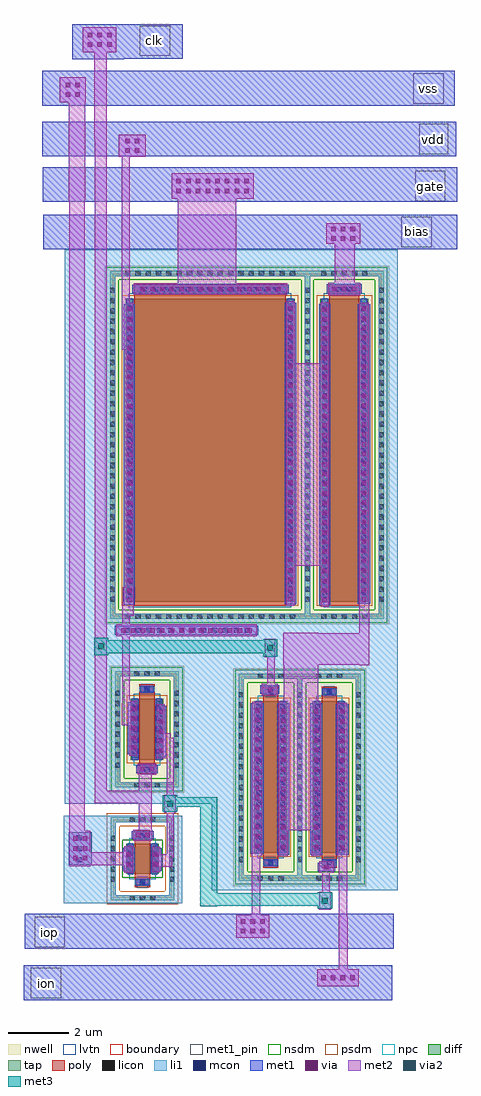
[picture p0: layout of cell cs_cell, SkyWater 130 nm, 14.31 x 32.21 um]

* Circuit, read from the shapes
.subckt cs_cell bias clk gate ion iop vdd vss
XM1 n1 clk vss vss sky130_fd_pr__nfet_01v8_lvt w=1 l=0.5
XM2 n2 gate vdd vdd sky130_fd_pr__pfet_01v8_lvt w=10 l=5
XM3 n1 clk vdd vdd sky130_fd_pr__pfet_01v8_lvt w=2 l=0.5
XM4 n3 clk iop vdd sky130_fd_pr__pfet_01v8_lvt w=5 l=0.5
XM5 ion n1 n3 vdd sky130_fd_pr__pfet_01v8_lvt w=5 l=0.5
XM6 n3 bias n2 vdd sky130_fd_pr__pfet_01v8_lvt w=10 l=1
.ends

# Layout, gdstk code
import gdstk
lib = gdstk.Library(unit=1e-6, precision=1e-09)
def R(c, l, rs):  # rectangles x0, y0, x1, y1
    for r in rs: c.add(gdstk.rectangle(r[:2], r[2:], *l))
def A(c, l, x, y, w, h, nx, ny, dx, dy):  # array of equal rectangles
    R(c, l, [(x+i*dx, y+j*dy, x+i*dx+w, y+j*dy+h) for i in range(nx) for j in range(ny)])
nwell = (64, 20)
diff = (65, 20)
tap = (65, 44)
poly = (66, 20)
licon = (66, 44)
li1 = (67, 20)
mcon = (67, 44)
met1_pin = (68, 16)
met1 = (68, 20)
via = (68, 44)
met2 = (69, 20)
via2 = (69, 44)
met3 = (70, 20)
nsdm = (93, 44)
psdm = (94, 20)
npc = (95, 20)
lvtn = (125, 44)
boundary = (235, 4)

sky130_fd_pr__pfet_01v8_ = lib.new_cell('sky130_fd_pr__pfet_01v8_lvt_7NMKNF')
R(sky130_fd_pr__pfet_01v8_, nwell, [(-1.48,-5.92,1.48,5.92)])
R(sky130_fd_pr__pfet_01v8_, diff, [(-0.79,-5.18,0.79,4.82)])
R(sky130_fd_pr__pfet_01v8_, tap, [(-1.3,-5.74,1.3,-5.57), (-1.3,-5.57,-1.13,5.57), (1.13,-5.57,1.3,5.57), (-1.3,5.57,1.3,5.74)])
R(sky130_fd_pr__pfet_01v8_, poly, [(-0.5,-5.31,0.5,5.305)])
A(sky130_fd_pr__pfet_01v8_, licon, -0.765, -5.74, 0.17, 0.17, 5, 2, 0.34, 11.31)
A(sky130_fd_pr__pfet_01v8_, licon, -1.3, -5.185, 0.17, 0.17, 1, 31, 0, 0.34)
A(sky130_fd_pr__pfet_01v8_, licon, 1.13, -5.185, 0.17, 0.17, 1, 31, 0, 0.34)
A(sky130_fd_pr__pfet_01v8_, licon, -0.73, -5.025, 0.17, 0.17, 1, 29, 0, 0.34)
A(sky130_fd_pr__pfet_01v8_, licon, 0.56, -5.025, 0.17, 0.17, 1, 29, 0, 0.34)
R(sky130_fd_pr__pfet_01v8_, licon, [(-0.255,5.055,-0.085,5.225), (0.085,5.055,0.255,5.225)])
R(sky130_fd_pr__pfet_01v8_, li1, [(-1.3,-5.74,1.3,-5.57), (-1.3,-5.57,-1.13,5.57), (1.13,-5.57,1.3,5.57), (-0.73,-5.2,-0.56,4.84), (0.56,-5.2,0.73,4.84), (-0.5,5.055,0.5,5.225), (-1.3,5.57,1.3,5.74)])
A(sky130_fd_pr__pfet_01v8_, mcon, -0.73, -4.945, 0.17, 0.17, 1, 27, 0, 0.36)
A(sky130_fd_pr__pfet_01v8_, mcon, 0.56, -4.945, 0.17, 0.17, 1, 27, 0, 0.36)
R(sky130_fd_pr__pfet_01v8_, mcon, [(-0.265,5.055,-0.095,5.225), (0.095,5.055,0.265,5.225)])
R(sky130_fd_pr__pfet_01v8_, met1, [(-0.76,-5.18,-0.53,4.82), (0.53,-5.18,0.76,4.82), (-0.48,5.025,0.48,5.255)])
R(sky130_fd_pr__pfet_01v8_, nsdm, [(-1.425,-5.865,1.425,-5.445), (-1.425,-5.445,-1.005,5.445), (1.005,-5.445,1.425,5.445), (-1.425,5.445,1.425,5.865)])
R(sky130_fd_pr__pfet_01v8_, psdm, [(-0.915,-5.305,0.915,4.945)])
R(sky130_fd_pr__pfet_01v8_, npc, [(-0.355,4.955,0.355,5.325)])
R(sky130_fd_pr__pfet_01v8_, lvtn, [(-0.68,-5.36,0.68,5)])
R(sky130_fd_pr__pfet_01v8_, boundary, [(-1.215,-5.655,1.215,5.655)])

c_sky130_fd_pr__pfet_01v8_ = lib.new_cell('sky130_fd_pr__pfet_01v8_lvt_X3K6Y6')
R(c_sky130_fd_pr__pfet_01v8_, nwell, [(-1.23,-2.095,1.23,2.095)])
R(c_sky130_fd_pr__pfet_01v8_, diff, [(-0.54,-1,0.54,1)])
R(c_sky130_fd_pr__pfet_01v8_, tap, [(-1.05,-1.915,1.05,-1.745), (-1.05,-1.745,-0.88,1.745), (0.88,-1.745,1.05,1.745), (-1.05,1.745,1.05,1.915)])
R(c_sky130_fd_pr__pfet_01v8_, poly, [(-0.25,-1.485,0.25,1.485)])
A(c_sky130_fd_pr__pfet_01v8_, licon, -0.425, -1.915, 0.17, 0.17, 3, 2, 0.34, 3.66)
A(c_sky130_fd_pr__pfet_01v8_, licon, -1.05, -1.275, 0.17, 0.17, 1, 8, 0, 0.34)
A(c_sky130_fd_pr__pfet_01v8_, licon, 0.88, -1.275, 0.17, 0.17, 1, 8, 0, 0.34)
A(c_sky130_fd_pr__pfet_01v8_, licon, -0.48, -0.935, 0.17, 0.17, 1, 6, 0, 0.34)
A(c_sky130_fd_pr__pfet_01v8_, licon, 0.31, -0.935, 0.17, 0.17, 1, 6, 0, 0.34)
R(c_sky130_fd_pr__pfet_01v8_, licon, [(-0.085,-1.405,0.085,-1.235), (-0.085,1.235,0.085,1.405)])
R(c_sky130_fd_pr__pfet_01v8_, li1, [(-1.05,-1.915,1.05,-1.745), (-1.05,-1.745,-0.88,1.745), (0.88,-1.745,1.05,1.745), (-0.25,-1.405,0.25,-1.235), (-0.48,-1.02,-0.31,1.02), (0.31,-1.02,0.48,1.02), (-0.25,1.235,0.25,1.405), (-1.05,1.745,1.05,1.915)])
A(c_sky130_fd_pr__pfet_01v8_, mcon, -0.48, -0.805, 0.17, 0.17, 1, 5, 0, 0.36)
A(c_sky130_fd_pr__pfet_01v8_, mcon, 0.31, -0.805, 0.17, 0.17, 1, 5, 0, 0.36)
R(c_sky130_fd_pr__pfet_01v8_, mcon, [(-0.085,-1.405,0.085,-1.235), (-0.085,1.235,0.085,1.405)])
R(c_sky130_fd_pr__pfet_01v8_, met1, [(-0.23,-1.435,0.23,-1.205), (-0.51,-1,-0.28,1), (0.28,-1,0.51,1), (-0.23,1.205,0.23,1.435)])
R(c_sky130_fd_pr__pfet_01v8_, nsdm, [(-1.175,-2.04,1.175,-1.62), (-1.175,-1.62,-0.755,1.62), (0.755,-1.62,1.175,1.62), (-1.175,1.62,1.175,2.04)])
R(c_sky130_fd_pr__pfet_01v8_, psdm, [(-0.665,-1.125,0.665,1.125)])
R(c_sky130_fd_pr__pfet_01v8_, npc, [(-0.185,-1.505,0.185,-1.135), (-0.185,1.135,0.185,1.505)])
R(c_sky130_fd_pr__pfet_01v8_, lvtn, [(-0.43,-1.18,0.43,1.18)])
R(c_sky130_fd_pr__pfet_01v8_, boundary, [(-0.965,-1.83,0.965,1.83)])

sky130_fd_pr__nfet_01v8_ = lib.new_cell('sky130_fd_pr__nfet_01v8_lvt_PVEW3M')
R(sky130_fd_pr__nfet_01v8_, diff, [(-0.54,-0.5,0.54,0.5)])
R(sky130_fd_pr__nfet_01v8_, tap, [(-1.05,-1.37,1.05,-1.2), (-1.05,-1.2,-0.88,1.2), (0.88,-1.2,1.05,1.2), (-1.05,1.2,1.05,1.37)])
R(sky130_fd_pr__nfet_01v8_, poly, [(-0.25,-0.94,0.25,0.94)])
A(sky130_fd_pr__nfet_01v8_, licon, -0.425, -1.37, 0.17, 0.17, 3, 2, 0.34, 2.57)
A(sky130_fd_pr__nfet_01v8_, licon, -1.05, -0.765, 0.17, 0.17, 1, 5, 0, 0.34)
A(sky130_fd_pr__nfet_01v8_, licon, 0.88, -0.765, 0.17, 0.17, 1, 5, 0, 0.34)
A(sky130_fd_pr__nfet_01v8_, licon, -0.48, -0.425, 0.17, 0.17, 1, 3, 0, 0.34)
A(sky130_fd_pr__nfet_01v8_, licon, 0.31, -0.425, 0.17, 0.17, 1, 3, 0, 0.34)
R(sky130_fd_pr__nfet_01v8_, licon, [(-0.085,-0.86,0.085,-0.69), (-0.085,0.69,0.085,0.86)])
R(sky130_fd_pr__nfet_01v8_, li1, [(-1.05,-1.37,1.05,-1.2), (-1.05,-1.2,-0.88,1.2), (0.88,-1.2,1.05,1.2), (-0.25,-0.86,0.25,-0.69), (-0.48,-0.52,-0.31,0.52), (0.31,-0.52,0.48,0.52), (-0.25,0.69,0.25,0.86), (-1.05,1.2,1.05,1.37)])
R(sky130_fd_pr__nfet_01v8_, mcon, [(-0.085,-0.86,0.085,-0.69), (-0.48,-0.265,-0.31,-0.095), (0.31,-0.265,0.48,-0.095), (-0.48,0.095,-0.31,0.265), (0.31,0.095,0.48,0.265), (-0.085,0.69,0.085,0.86)])
R(sky130_fd_pr__nfet_01v8_, met1, [(-0.23,-0.89,0.23,-0.66), (-0.51,-0.5,-0.28,0.5), (0.28,-0.5,0.51,0.5), (-0.23,0.66,0.23,0.89)])
R(sky130_fd_pr__nfet_01v8_, nsdm, [(-0.665,-0.625,0.665,0.625)])
R(sky130_fd_pr__nfet_01v8_, psdm, [(-1.175,-1.495,1.175,-1.075), (-1.175,-1.075,-0.755,1.075), (0.755,-1.075,1.175,1.075), (-1.175,1.075,1.175,1.495)])
R(sky130_fd_pr__nfet_01v8_, npc, [(-0.185,-0.96,0.185,-0.59), (-0.185,0.59,0.185,0.96)])
R(sky130_fd_pr__nfet_01v8_, lvtn, [(-0.43,-0.68,0.43,0.68)])
R(sky130_fd_pr__nfet_01v8_, boundary, [(-0.965,-1.285,0.965,1.285)])

c_sky130_fd_pr__pfet_01v8__ = lib.new_cell('sky130_fd_pr__pfet_01v8_lvt_X3C8Y6')
R(c_sky130_fd_pr__pfet_01v8__, nwell, [(-1.23,-3.595,1.23,3.595)])
R(c_sky130_fd_pr__pfet_01v8__, diff, [(-0.54,-2.5,0.54,2.5)])
R(c_sky130_fd_pr__pfet_01v8__, tap, [(-1.05,-3.415,1.05,-3.245), (-1.05,-3.245,-0.88,3.245), (0.88,-3.245,1.05,3.245), (-1.05,3.245,1.05,3.415)])
R(c_sky130_fd_pr__pfet_01v8__, poly, [(-0.25,-2.985,0.25,2.985)])
A(c_sky130_fd_pr__pfet_01v8__, licon, -0.425, -3.415, 0.17, 0.17, 3, 2, 0.34, 6.66)
A(c_sky130_fd_pr__pfet_01v8__, licon, -1.05, -2.805, 0.17, 0.17, 1, 17, 0, 0.34)
A(c_sky130_fd_pr__pfet_01v8__, licon, 0.88, -2.805, 0.17, 0.17, 1, 17, 0, 0.34)
A(c_sky130_fd_pr__pfet_01v8__, licon, -0.48, -2.295, 0.17, 0.17, 1, 14, 0, 0.34)
A(c_sky130_fd_pr__pfet_01v8__, licon, 0.31, -2.295, 0.17, 0.17, 1, 14, 0, 0.34)
R(c_sky130_fd_pr__pfet_01v8__, licon, [(-0.085,-2.905,0.085,-2.735), (-0.085,2.735,0.085,2.905)])
R(c_sky130_fd_pr__pfet_01v8__, li1, [(-1.05,-3.415,1.05,-3.245), (-1.05,-3.245,-0.88,3.245), (0.88,-3.245,1.05,3.245), (-0.25,-2.905,0.25,-2.735), (-0.48,-2.52,-0.31,2.52), (0.31,-2.52,0.48,2.52), (-0.25,2.735,0.25,2.905), (-1.05,3.245,1.05,3.415)])
A(c_sky130_fd_pr__pfet_01v8__, mcon, -0.48, -2.425, 0.17, 0.17, 1, 14, 0, 0.36)
A(c_sky130_fd_pr__pfet_01v8__, mcon, 0.31, -2.425, 0.17, 0.17, 1, 14, 0, 0.36)
R(c_sky130_fd_pr__pfet_01v8__, mcon, [(-0.085,-2.905,0.085,-2.735), (-0.085,2.735,0.085,2.905)])
R(c_sky130_fd_pr__pfet_01v8__, met1, [(-0.23,-2.935,0.23,-2.705), (-0.51,-2.5,-0.28,2.5), (0.28,-2.5,0.51,2.5), (-0.23,2.705,0.23,2.935)])
R(c_sky130_fd_pr__pfet_01v8__, nsdm, [(-1.175,-3.54,1.175,-3.12), (-1.175,-3.12,-0.755,3.12), (0.755,-3.12,1.175,3.12), (-1.175,3.12,1.175,3.54)])
R(c_sky130_fd_pr__pfet_01v8__, psdm, [(-0.665,-2.625,0.665,2.625)])
R(c_sky130_fd_pr__pfet_01v8__, npc, [(-0.185,-3.005,0.185,-2.635), (-0.185,2.635,0.185,3.005)])
R(c_sky130_fd_pr__pfet_01v8__, lvtn, [(-0.43,-2.68,0.43,2.68)])
R(c_sky130_fd_pr__pfet_01v8__, boundary, [(-0.965,-3.33,0.965,3.33)])

c_sky130_fd_pr__pfet_01v8___ = lib.new_cell('sky130_fd_pr__pfet_01v8_lvt_EGMKNF')
R(c_sky130_fd_pr__pfet_01v8___, nwell, [(-3.48,-5.92,3.48,5.92)])
R(c_sky130_fd_pr__pfet_01v8___, diff, [(-2.79,-5.18,2.79,4.82)])
R(c_sky130_fd_pr__pfet_01v8___, tap, [(-3.3,-5.74,3.3,-5.57), (-3.3,-5.57,-3.13,5.57), (3.13,-5.57,3.3,5.57), (-3.3,5.57,3.3,5.74)])
R(c_sky130_fd_pr__pfet_01v8___, poly, [(-2.5,-5.31,2.5,5.305)])
A(c_sky130_fd_pr__pfet_01v8___, licon, -2.805, -5.74, 0.17, 0.17, 17, 2, 0.34, 11.31)
A(c_sky130_fd_pr__pfet_01v8___, licon, -3.3, -5.185, 0.17, 0.17, 1, 31, 0, 0.34)
A(c_sky130_fd_pr__pfet_01v8___, licon, 3.13, -5.185, 0.17, 0.17, 1, 31, 0, 0.34)
A(c_sky130_fd_pr__pfet_01v8___, licon, -2.73, -5.025, 0.17, 0.17, 1, 29, 0, 0.34)
A(c_sky130_fd_pr__pfet_01v8___, licon, 2.56, -5.025, 0.17, 0.17, 1, 29, 0, 0.34)
A(c_sky130_fd_pr__pfet_01v8___, licon, -2.295, 5.055, 0.17, 0.17, 14, 1, 0.34, 0)
R(c_sky130_fd_pr__pfet_01v8___, li1, [(-3.3,-5.74,3.3,-5.57), (-3.3,-5.57,-3.13,5.57), (3.13,-5.57,3.3,5.57), (-2.73,-5.2,-2.56,4.84), (2.56,-5.2,2.73,4.84), (-2.5,5.055,2.5,5.225), (-3.3,5.57,3.3,5.74)])
A(c_sky130_fd_pr__pfet_01v8___, mcon, -2.73, -4.945, 0.17, 0.17, 1, 27, 0, 0.36)
A(c_sky130_fd_pr__pfet_01v8___, mcon, 2.56, -4.945, 0.17, 0.17, 1, 27, 0, 0.36)
A(c_sky130_fd_pr__pfet_01v8___, mcon, -2.245, 5.055, 0.17, 0.17, 13, 1, 0.36, 0)
R(c_sky130_fd_pr__pfet_01v8___, met1, [(-2.76,-5.18,-2.53,4.82), (2.53,-5.18,2.76,4.82), (-2.48,5.025,2.48,5.255)])
R(c_sky130_fd_pr__pfet_01v8___, nsdm, [(-3.425,-5.865,3.425,-5.445), (-3.425,-5.445,-3.005,5.445), (3.005,-5.445,3.425,5.445), (-3.425,5.445,3.425,5.865)])
R(c_sky130_fd_pr__pfet_01v8___, psdm, [(-2.915,-5.305,2.915,4.945)])
R(c_sky130_fd_pr__pfet_01v8___, npc, [(-2.395,4.955,2.395,5.325)])
R(c_sky130_fd_pr__pfet_01v8___, lvtn, [(-2.68,-5.36,2.68,5)])
R(c_sky130_fd_pr__pfet_01v8___, boundary, [(-3.215,-5.655,3.215,5.655)])

cs_cell = lib.new_cell('cs_cell')
R(cs_cell, li1, [(15.48,-9.09,19.39,-8.99), (15.48,-8.99,17.08,-6.4), (19.11,-8.99,19.39,-6.4), (20.37,-8.66,26.51,-8.24), (20.37,-8.24,21.4,-5.81), (25.15,-8.24,26.51,-1.51), (15.48,-6.4,19.39,-6.2), (15.51,-5.81,21.4,-5.66), (15.51,-5.66,21.35,-5.53), (15.51,-5.53,21.38,-5.12), (15.51,-5.12,17.3,-1.51), (19.19,-5.12,21.38,-1.51), (15.51,-1.51,26.51,0.38), (15.51,0.38,17.08,11.67), (25.88,0.38,26.51,11.67), (15.51,11.67,26.51,12.48)])
A(cs_cell, mcon, 15.9, -7.735, 0.17, 0.17, 1, 3, 0, 0.36)
A(cs_cell, mcon, 17.49, -0.16, 0.17, 0.17, 12, 1, 0.36, 0)
R(cs_cell, met1_pin, [(14.4,-12.22,15.4,-11.22), (14.52,-10.54,15.52,-9.54), (26.62,12.57,27.62,13.57), (27.08,14.08,28.08,15.08), (27.21,15.63,28.17,16.63), (27.02,17.3,28.02,18.3), (17.99,18.88,18.99,19.88)])
R(cs_cell, met1, [(14.16,-12.28,26.33,-11.13), (14.2,-10.59,26.37,-9.44), (17.43,-8.03,17.82,-7.26), (23.86,-8.03,24.44,-7.75), (18.35,-8.01,18.72,-7.27), (15.64,-7.81,16.41,-6.74), (22.53,-7.49,22.93,-2.49), (23.61,-7.49,24.01,-2.49), (24.46,-7.49,24.89,-2.52), (21.65,-7.45,22.08,-2.48), (17.73,-6.97,18.45,-6.71), (17.87,-4.79,18.59,-4.53), (18.5,-4.25,18.87,-2.57), (17.59,-4.17,17.96,-2.45), (21.97,-2.18,22.6,-1.9), (17.16,-0.23,21.9,0.07), (23.91,0.74,24.28,10.69), (17.47,0.76,17.83,10.68), (22.78,0.78,23.15,10.73), (25.18,0.79,25.6,10.68), (24.16,11.03,25.31,11.34), (17.75,11.05,22.9,11.33), (14.8,12.49,28.47,13.64), (14.79,14.06,28.46,15.21), (14.78,15.56,28.43,16.71), (14.78,17.23,28.38,18.38), (15.76,18.77,17.47,18.78), (15.76,18.78,19.41,19.92), (17.46,19.92,19.41,19.93)])
A(cs_cell, via, 23.975, -11.62, 0.15, 0.15, 4, 1, 0.32, 0)
A(cs_cell, via, 21.325, -10.08, 0.15, 0.15, 3, 2, 0.32, 0.32)
A(cs_cell, via, 15.79, -7.67, 0.15, 0.15, 1, 3, 0, 0.32)
A(cs_cell, via, 16.11, -7.67, 0.15, 0.15, 1, 3, 0, 0.32)
A(cs_cell, via, 24.6, -7.32, 0.15, 0.15, 1, 15, 0, 0.32)
A(cs_cell, via, 22.655, -7.305, 0.15, 0.15, 1, 15, 0, 0.32)
A(cs_cell, via, 23.735, -7.305, 0.15, 0.15, 1, 15, 0, 0.32)
A(cs_cell, via, 21.79, -7.28, 0.15, 0.15, 1, 15, 0, 0.32)
A(cs_cell, via, 18.61, -4.125, 0.15, 0.15, 1, 5, 0, 0.32)
A(cs_cell, via, 17.7, -4.025, 0.15, 0.15, 1, 5, 0, 0.32)
A(cs_cell, via, 17.375, -0.155, 0.15, 0.15, 14, 1, 0.32, 0)
A(cs_cell, via, 24.02, 0.84, 0.15, 0.15, 1, 31, 0, 0.32)
A(cs_cell, via, 17.575, 0.845, 0.15, 0.15, 1, 31, 0, 0.32)
A(cs_cell, via, 25.315, 0.86, 0.15, 0.15, 1, 31, 0, 0.32)
A(cs_cell, via, 22.89, 0.88, 0.15, 0.15, 1, 31, 0, 0.32)
A(cs_cell, via, 24.34, 11.11, 0.15, 0.15, 3, 1, 0.32, 0)
A(cs_cell, via, 18.01, 11.115, 0.15, 0.15, 15, 1, 0.32, 0)
A(cs_cell, via, 24.305, 12.775, 0.15, 0.15, 3, 2, 0.32, 0.32)
A(cs_cell, via, 19.2, 14.35, 0.15, 0.15, 8, 2, 0.32, 0.32)
A(cs_cell, via, 16.27, 19.175, 0.15, 0.15, 3, 2, 0.32, 0.32)
R(cs_cell, via, [(24.075,-7.965,24.225,-7.815), (17.55,-7.88,17.7,-7.73), (18.46,-7.875,18.61,-7.725), (17.55,-7.56,17.7,-7.41), (18.46,-7.555,18.61,-7.405), (17.855,-6.915,18.005,-6.765), (18.175,-6.915,18.325,-6.765), (17.995,-4.735,18.145,-4.585), (18.315,-4.735,18.465,-4.585), (22.21,-2.115,22.36,-1.965), (17.51,15.68,17.66,15.83), (17.83,15.68,17.98,15.83), (17.51,16,17.66,16.15), (17.83,16,17.98,16.15), (15.545,17.525,15.695,17.675), (15.865,17.525,16.015,17.675), (15.545,17.845,15.695,17.995), (15.865,17.845,16.015,17.995)])
R(cs_cell, met2, [(23.84,-11.83,25.22,-11.26), (24.56,-11.26,24.86,-9.53), (21.17,-10.23,22.27,-9.46), (24.56,-9.53,24.84,-7.54), (21.69,-9.46,21.97,-7.5), (23.91,-9.3,24.29,-8.7), (24.01,-8.7,24.26,-8.08), (17.48,-8.08,17.77,-7.84), (23.91,-8.08,24.39,-7.7), (18.4,-8.06,18.67,-7.89), (18.4,-7.89,19.06,-7.58), (15.67,-7.86,16.36,-7.84), (15.67,-7.84,17.77,-7.4), (18.4,-7.58,19.11,-7.47), (22.58,-7.54,22.88,-6.68), (23.66,-7.54,23.96,-6.68), (24.51,-7.54,24.84,-2.47), (21.69,-7.5,22.03,-7.45), (18.4,-7.47,18.67,-7.22), (18.88,-7.47,19.11,-6.1), (21.7,-7.45,22.03,-2.43), (15.67,-7.4,16.36,-6.69), (17.48,-7.4,17.77,-7.21), (17.78,-7.02,18.4,-6.66), (15.67,-6.69,16.17,14.11), (22.58,-6.68,23.96,-2.44), (17.96,-6.66,18.39,-5.79), (18.8,-6.1,19.18,-5.5), (16.51,-5.79,18.39,-5.37), (18.88,-5.5,19.11,-4.31), (16.51,-5.37,16.9,16.14), (17.96,-5.37,18.39,-4.84), (17.92,-4.84,18.54,-4.48), (18.63,-4.31,19.11,-4.3), (18.55,-4.3,19.11,-3.62), (17.64,-4.22,17.91,-3.22), (18.55,-3.62,19.02,-3.47), (18.55,-3.47,18.82,-2.52), (17.4,-3.22,17.91,-2.49), (17.41,-2.49,17.91,-2.4), (22.75,-2.44,23.88,-1.22), (17.41,-2.4,17.66,-0.28), (22.02,-2.23,22.55,-1.85), (22.19,-1.85,22.45,-0.97), (25.24,-1.24,25.56,-1.22), (22.73,-1.22,25.56,-0.17), (22.11,-0.97,22.47,-0.35), (17.21,-0.28,21.85,0.12), (22.75,-0.17,23.88,-0.16), (25.24,-0.17,25.56,0.74), (17.41,0.12,17.66,0.4), (17.41,0.4,17.79,0.83), (23.96,0.69,24.23,2.05), (22.83,0.73,23.1,2.05), (25.23,0.74,25.56,0.8), (25.23,0.8,25.55,10.73), (17.43,0.83,17.79,1.34), (17.52,1.34,17.78,9.18), (22.83,2.05,24.23,8.74), (22.83,8.74,23.1,10.78), (23.96,8.74,24.23,10.74), (17.4,9.18,17.78,10.73), (17.4,10.73,17.66,15.55), (24.21,10.98,25.26,11.39), (17.8,11,22.85,11.38), (19.24,11.38,21.17,14.16), (24.42,11.39,25.09,12.67), (24.14,12.67,25.26,13.35), (15.65,14.11,16.19,17.34), (19.04,14.16,21.75,15.01), (17.3,15.55,18.19,16.28), (16.49,16.14,16.9,19), (15.35,17.34,16.21,18.18), (16.11,19,17.22,19.82)])
R(cs_cell, via2, [(24,-9.1,24.2,-8.9), (18.89,-5.9,19.09,-5.7), (22.19,-0.76,22.39,-0.56), (16.62,-0.71,16.82,-0.51)])
R(cs_cell, met3, [(23.86,-9.275,24.34,-9.17), (19.98,-9.18,20.54,-9.17), (19.98,-9.17,24.34,-8.75), (19.98,-8.75,20.54,-5.91), (23.86,-8.75,24.34,-8.725), (18.75,-6.075,19.23,-5.91), (18.75,-5.91,20.55,-5.59), (18.75,-5.59,19.23,-5.525), (22.06,-0.945,22.52,-0.84), (16.49,-0.895,16.95,-0.84), (16.49,-0.84,22.52,-0.4), (16.49,-0.4,16.95,-0.325), (22.06,-0.4,22.52,-0.375)])
cs_cell.add(gdstk.Reference(sky130_fd_pr__pfet_01v8_, (24.74,6.04)))
cs_cell.add(gdstk.Reference(c_sky130_fd_pr__pfet_01v8_, (18.23,-3.345)))
cs_cell.add(gdstk.Reference(sky130_fd_pr__nfet_01v8_, (18.08,-7.62)))
cs_cell.add(gdstk.Reference(c_sky130_fd_pr__pfet_01v8__, (24.24,-4.925)))
cs_cell.add(gdstk.Reference(c_sky130_fd_pr__pfet_01v8__, (22.31,-4.925)))
cs_cell.add(gdstk.Reference(c_sky130_fd_pr__pfet_01v8___, (20.31,6.04)))
cs_cell.add(gdstk.Label('vdd', (27.69,16.13), layer=68, texttype=5))
cs_cell.add(gdstk.Label('clk', (18.49,19.38), layer=68, texttype=5))
cs_cell.add(gdstk.Label('vss', (27.52,17.8), layer=68, texttype=5))
cs_cell.add(gdstk.Label('bias', (27.12,13.07), layer=68, texttype=5))
cs_cell.add(gdstk.Label('gate', (27.58,14.58), layer=68, texttype=5))
cs_cell.add(gdstk.Label('iop', (15.02,-10.04), layer=68, texttype=5))
cs_cell.add(gdstk.Label('ion', (14.9,-11.72), layer=68, texttype=5))

lib.write_gds('cs_cell.gds')
